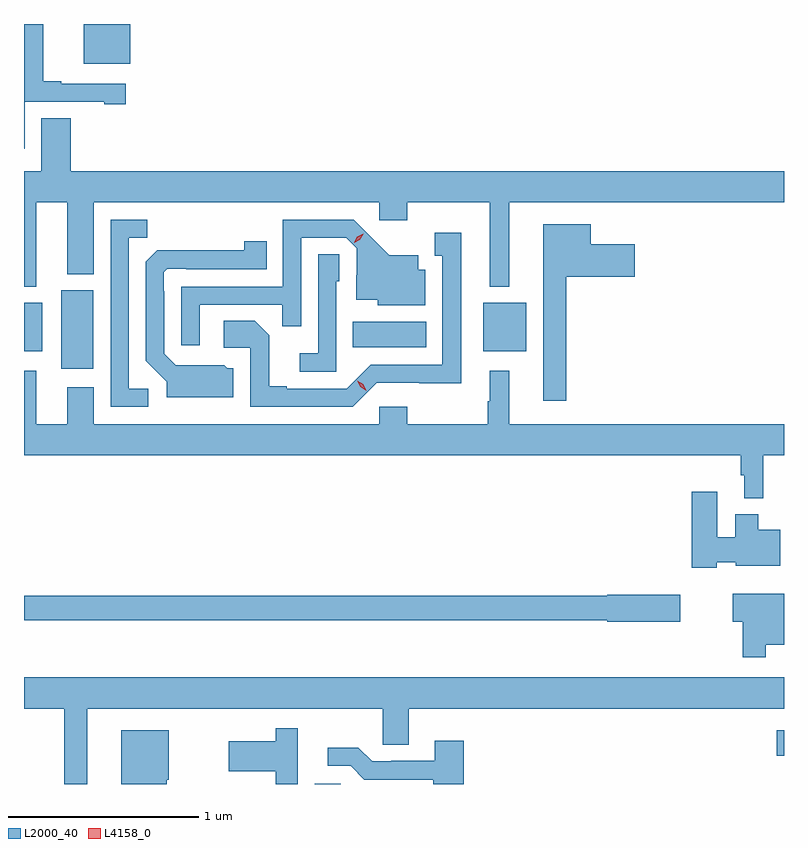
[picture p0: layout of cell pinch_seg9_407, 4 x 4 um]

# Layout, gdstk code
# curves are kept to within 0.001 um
import gdstk
lib = gdstk.Library(unit=1e-6, precision=1e-09)
def R(c, l, rs):  # rectangles x0, y0, x1, y1
    for r in rs: c.add(gdstk.rectangle(r[:2], r[2:], *l))
def P(c, l, *ps):  # polygons
    for p in ps: c.add(gdstk.Polygon(p, *l))
L2000_40 = (2000, 40)
L4158_0 = (4158, 0)

pinch_seg9_407 = lib.new_cell('pinch_seg9_407')
R(pinch_seg9_407, L2000_40, [(227.744,1233.319,227.883,1233.321), (230.178,1233.467,230.215,1233.601), (226.412,1235.505,226.579,1235.917), (226.215,1235.597,226.312,1235.851), (228.632,1235.597,228.859,1235.851), (227.944,1235.618,228.331,1235.752), (226.529,1237.109,226.774,1237.318)])
P(pinch_seg9_407, L2000_40, [(226.218,1236.909),(226.637,1236.909),(226.637,1236.897),(226.75,1236.897),(226.75,1237.005),(226.411,1237.005),(226.411,1237.018),(226.316,1237.018),(226.316,1237.319),(226.216,1237.319),(226.216,1237.025),(226.215,1237.025),(226.215,1236.663),(226.218,1236.663)],
  [(226.279,1236.38),(226.442,1236.38),(226.442,1236.002),(226.582,1236.002),(226.582,1236.38),(228.084,1236.38),(228.084,1236.285),(228.231,1236.285),(228.231,1236.38),(228.665,1236.38),(228.665,1235.936),(228.769,1235.936),(228.769,1236.38),(230.215,1236.38),(230.215,1236.544),(226.46,1236.544),(226.46,1236.824),(226.307,1236.824),(226.307,1236.544),(226.215,1236.544),(226.215,1235.936),(226.279,1235.936)],
  [(226.87,1235.4),(226.767,1235.4),(226.767,1236.193),(226.863,1236.193),(226.863,1236.288),(226.671,1236.288),(226.671,1235.304),(226.87,1235.304)],
  [(227.139,1235.841),(227.575,1235.841),(227.575,1235.728),(227.673,1235.728),(227.673,1236.195),(227.91,1236.195),(227.967,1236.138),(227.967,1235.996),(227.963,1235.996),(227.963,1235.867),(228.078,1235.867),(228.078,1235.84),(228.328,1235.84),(228.328,1236.025),(228.289,1236.025),(228.289,1236.103),(228.137,1236.103),(227.95,1236.288),(227.577,1236.288),(227.577,1235.937),(227.043,1235.937),(227.043,1235.628),(227.139,1235.628)],
  [(229.069,1235.99),(229.429,1235.99),(229.429,1236.16),(229.198,1236.16),(229.198,1236.265),(228.947,1236.265),(228.947,1235.337),(229.069,1235.337)],
  [(228.072,1235.43),(228.517,1235.429),(228.517,1236.22),(228.377,1236.22),(228.377,1236.099),(228.416,1236.099),(228.416,1235.526),(228.039,1235.526),(227.913,1235.4),(227.599,1235.4),(227.599,1235.413),(227.505,1235.413),(227.505,1235.68),(227.429,1235.756),(227.265,1235.756),(227.265,1235.616),(227.406,1235.616),(227.406,1235.304),(227.946,1235.304)],
  [(227.317,1235.508),(227.286,1235.508),(227.27,1235.524),(227.013,1235.523),(226.953,1235.583),(226.953,1235.912),(226.95,1235.912),(226.95,1236.012),(226.968,1236.03),(227.068,1236.03),(227.068,1236.027),(227.492,1236.027),(227.492,1236.175),(227.374,1236.175),(227.374,1236.128),(226.916,1236.127),(226.857,1236.068),(226.857,1235.546),(226.967,1235.436),(226.967,1235.354),(227.317,1235.354)],
  [(227.859,1235.964),(227.874,1235.964),(227.874,1236.107),(227.763,1236.107),(227.763,1235.587),(227.667,1235.587),(227.667,1235.49),(227.859,1235.49)],
  [(230.105,1235.048),(230.215,1235.048),(230.215,1235.212),(228.769,1235.212),(228.769,1235.494),(228.665,1235.494),(228.665,1235.333),(228.655,1235.333),(228.655,1235.212),(228.231,1235.212),(228.231,1235.305),(228.084,1235.305),(228.084,1235.212),(226.582,1235.212),(226.582,1235.407),(226.442,1235.407),(226.442,1235.212),(226.279,1235.212),(226.279,1235.494),(226.215,1235.494),(226.215,1235.048),(229.987,1235.048),(229.987,1234.945),(230.006,1234.945),(230.006,1234.823),(230.105,1234.823)],
  [(229.86,1234.487),(229.962,1234.487),(229.962,1234.469),(230.194,1234.469),(230.194,1234.657),(230.08,1234.657),(230.08,1234.738),(229.958,1234.738),(229.958,1234.617),(229.864,1234.617),(229.864,1234.858),(229.73,1234.858),(229.73,1234.457),(229.86,1234.457)],
  [(230.119,1234.052),(230.215,1234.052),(230.215,1234.321),(229.946,1234.321),(229.946,1234.174),(229.998,1234.174),(229.998,1233.987),(230.119,1233.987)],
  [(229.669,1234.316),(229.284,1234.316),(229.284,1234.31),(226.215,1234.31),(226.215,1234.182),(229.284,1234.182),(229.284,1234.174),(229.669,1234.174)],
  [(226.549,1233.716),(228.102,1233.716),(228.102,1233.526),(228.241,1233.526),(228.241,1233.716),(230.215,1233.716),(230.215,1233.88),(226.215,1233.88),(226.215,1233.716),(226.428,1233.716),(226.428,1233.319),(226.549,1233.319)],
  [(227.655,1233.39),(227.656,1233.39),(227.656,1233.613),(227.539,1233.613),(227.539,1233.544),(227.292,1233.544),(227.292,1233.386),(227.539,1233.386),(227.539,1233.319),(227.655,1233.319)],
  [(226.966,1233.342),(226.978,1233.342),(226.978,1233.601),(226.727,1233.601),(226.727,1233.319),(226.966,1233.319)],
  [(228.53,1233.547),(228.377,1233.547),(228.377,1233.441),(228.148,1233.441),(228.148,1233.438),(228.048,1233.438),(227.975,1233.511),(227.814,1233.511),(227.814,1233.414),(227.934,1233.414),(228.007,1233.341),(228.37,1233.342),(228.37,1233.319),(228.53,1233.319)])
P(pinch_seg9_407, L4158_0, [(228.017,1235.39),(227.985,1235.409),(227.968,1235.441),(227.968,1235.441),(227.968,1235.441),(228,1235.422),(228.017,1235.39),(228.017,1235.39)],
  [(227.952,1236.169),(227.952,1236.17),(227.97,1236.199),(228.001,1236.214),(228.001,1236.214),(228.001,1236.213),(227.983,1236.184),(227.952,1236.169)])

lib.write_gds('pinch_seg9_407.gds')
